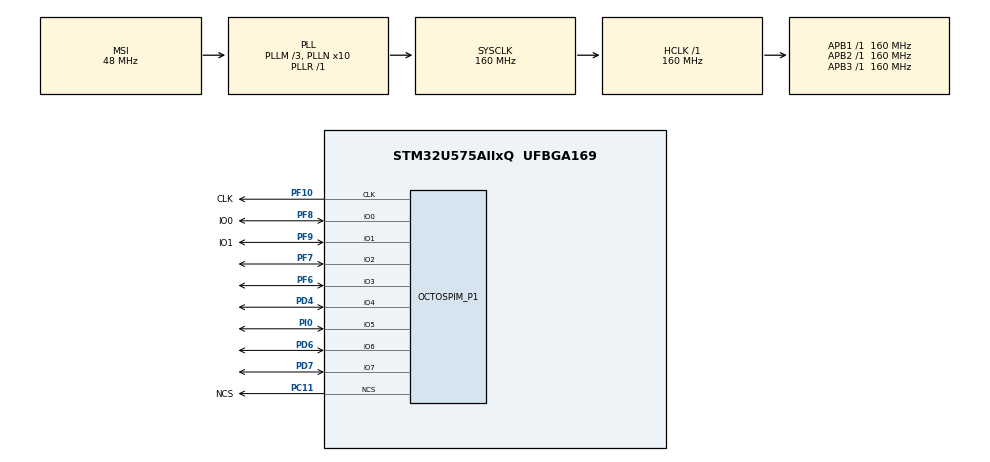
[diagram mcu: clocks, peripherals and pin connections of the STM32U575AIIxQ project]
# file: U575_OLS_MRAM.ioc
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CORTEX_M33_NS.userName=CORTEX_M33
Mcu.Family=STM32U5
Mcu.Name=STM32U575AIIxQ
Mcu.Package=UFBGA169
NVIC.OCTOSPI1_IRQn=true\:0\:0\:false\:false\:true\:true\:true\:true
NVIC.PriorityGroup=NVIC_PRIORITYGROUP_4
OCTOSPI1.ClockPrescaler=4
OCTOSPI1.DeviceSize=27
PC11.GPIO_Label=NCS
PC11.Mode=OCTOSPI1_Port1_NCS
PC11.Signal=OCTOSPIM_P1_NCS
PD4.Mode=OCTOSPI1_IOH_Port1H
PD4.Signal=OCTOSPIM_P1_IO4
PD6.Mode=OCTOSPI1_IOH_Port1H
PD6.Signal=OCTOSPIM_P1_IO6
PD7.Mode=OCTOSPI1_IOH_Port1H
PD7.Signal=OCTOSPIM_P1_IO7
PF10.GPIO_Label=CLK
PF10.Mode=O1_P1_CLK
PF10.Signal=OCTOSPIM_P1_CLK
PF6.Mode=OCTOSPI1_IOL_Port1L
PF6.Signal=OCTOSPIM_P1_IO3
PF7.Mode=OCTOSPI1_IOL_Port1L
PF7.Signal=OCTOSPIM_P1_IO2
PF8.GPIO_Label=IO0
PF8.Mode=OCTOSPI1_IOL_Port1L
PF8.Signal=OCTOSPIM_P1_IO0
PF9.GPIO_Label=IO1
PF9.Mode=OCTOSPI1_IOL_Port1L
PF9.Signal=OCTOSPIM_P1_IO1
PI0.Mode=OCTOSPI1_IOH_Port1H
PI0.Signal=OCTOSPIM_P1_IO5
PWR.PowerMode=PWR_SMPS_SUPPLY
ProjectManager.HeapSize=0x200
ProjectManager.StackSize=0x400
ProjectManager.TargetToolchain=STM32CubeIDE
RCC.ADCFreq_Value=16000000
RCC.AHBFreq_Value=160000000
RCC.APB1Freq_Value=160000000
RCC.APB1TimFreq_Value=160000000
RCC.APB2Freq_Value=160000000
RCC.APB2TimFreq_Value=160000000
RCC.APB3Freq_Value=160000000
RCC.CortexFreq_Value=160000000
RCC.EPOD_VALUE=48000000
RCC.HCLKFreq_Value=160000000
RCC.HSE_VALUE=16000000
RCC.HSI48_VALUE=48000000
RCC.HSI_VALUE=16000000
RCC.LSE_VALUE=32768
RCC.LSIDIV_VALUE=32000
RCC.MSIClockRange=RCC_MSIRANGE_0
RCC.MSI_VALUE=48000000
RCC.PLL1R=1
RCC.PLL2FRACN=0
RCC.PLL3FRACN=0
RCC.PLLFRACN=0
RCC.PLLM=3
RCC.PLLN=10
RCC.SYSCLKFreq_VALUE=160000000
RCC.SYSCLKSource=RCC_SYSCLKSOURCE_PLLCLK
RCC.USBFreq_Value=48000000
RCC.VCOOutputFreq_Value=160000000
VP_ICACHE_VS_ENABLE_ICACHE_MEMORY.Mode=Memoryregions
VP_ICACHE_VS_ICACHE.Mode=DirectMappedCache
VP_LPBAMQUEUE_VS_QUEUE.Mode=QUEUEMODE
VP_LPBAM_VS_SIG1.Mode=SmartRun
VP_LPBAM_VS_SIG4.Mode=LPDMA1
VP_MEMORYMAP_VS_MEMORYMAP.Mode=CurAppReg
VP_OCTOSPI1_VS_octo.Mode=octo_mode
VP_PWR_VS_LPOM.Mode=PowerOptimisation
VP_PWR_VS_SECSignals.Mode=Security/Privilege
board=custom

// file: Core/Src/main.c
/* USER CODE BEGIN Header */
/**
  ******************************************************************************
  * @file           : main.c
  * @brief          : Main program body
  ******************************************************************************
  * @attention
  *
  * Copyright (c) 2024 STMicroelectronics.
  * All rights reserved.
  *
  * This software is licensed under terms that can be found in the LICENSE file
  * in the root directory of this software component.
  * If no LICENSE file comes with this software, it is provided AS-IS.
  *
  ******************************************************************************
  */
/* USER CODE END Header */
#include "main.h"
#include "icache.h"
#include "memorymap.h"
#include "octospi.h"
#include "gpio.h"

/* USER CODE BEGIN Includes */
#include "mram.h"
/* USER CODE END Includes */

/* USER CODE BEGIN PV */
uint8_t ID[3];
EMXXLX_ConfigurationTypeDef MemConfig = { 0 };
/* USER CODE END PV */

void SystemClock_Config(void);
static void SystemPower_Config(void);

int main(void)
{

  /* MCU Configuration--------------------------------------------------------*/

  /* Reset of all peripherals, Initializes the Flash interface and the Systick. */
  HAL_Init();

  /* Configure the System Power */
  SystemPower_Config();

  /* Configure the system clock */
  SystemClock_Config();

  /* Initialize all configured peripherals */
  MX_GPIO_Init();
  MX_ICACHE_Init();
  MX_OCTOSPI1_Init();
  /* USER CODE BEGIN 2 */
  MemConfig.SpiInterfaceMode = MRAM_OSPI_W_DS;
  MemConfig.DummyCycles = MRAM_DEFAULT_DC;
  MemConfig.DriverStrenght = MRAM_50_DRIVER_STR;
  MemConfig.AddedDsDelay = MRAM_0_ADDED_DELAY;
  MemConfig.AddressMode = MRAM_ADDRESS_BYTES_4;
  MemConfig.XIPConfiguration = MRAM_XIP_DISABLE;
  MemConfig.WrapConfiguration = MRAM_CONTINUOUS_WRAP;
  MemConfig.EraseBitValue = MRAM_ERASE_VALUE_1;
  MemConfig.ResetPinEnable = MRAM_RESET_ENABLE;
  MemConfig.WriteMode = MRAM_NONVOLATILE;
  MemConfig.OtpLockEnable = MRAM_OTPLOCK_ENABLE;
  if (EMXXLX_Init(&hospi1, MemConfig, 8) != HAL_OK)
  Error_Handler();
  EMXXLX_Read_ID(&hospi1, ID);

  /* USER CODE END 2 */

  /* Infinite loop */
  while (1)
  {

  }
}

void SystemClock_Config(void)
{
  RCC_OscInitTypeDef RCC_OscInitStruct = {0};
  RCC_ClkInitTypeDef RCC_ClkInitStruct = {0};

  /** Configure the main internal regulator output voltage
  */
  if (HAL_PWREx_ControlVoltageScaling(PWR_REGULATOR_VOLTAGE_SCALE1) != HAL_OK)
  {
    Error_Handler();
  }

  /** Initializes the CPU, AHB and APB buses clocks
  */
  RCC_OscInitStruct.OscillatorType = RCC_OSCILLATORTYPE_MSI;
  RCC_OscInitStruct.MSIState = RCC_MSI_ON;
  RCC_OscInitStruct.MSICalibrationValue = RCC_MSICALIBRATION_DEFAULT;
  RCC_OscInitStruct.MSIClockRange = RCC_MSIRANGE_0;
  RCC_OscInitStruct.PLL.PLLState = RCC_PLL_ON;
  RCC_OscInitStruct.PLL.PLLSource = RCC_PLLSOURCE_MSI;
  RCC_OscInitStruct.PLL.PLLMBOOST = RCC_PLLMBOOST_DIV4;
  RCC_OscInitStruct.PLL.PLLM = 3;
  RCC_OscInitStruct.PLL.PLLN = 10;
  RCC_OscInitStruct.PLL.PLLP = 2;
  RCC_OscInitStruct.PLL.PLLQ = 2;
  RCC_OscInitStruct.PLL.PLLR = 1;
  RCC_OscInitStruct.PLL.PLLRGE = RCC_PLLVCIRANGE_1;
  RCC_OscInitStruct.PLL.PLLFRACN = 0;
  if (HAL_RCC_OscConfig(&RCC_OscInitStruct) != HAL_OK)
  {
    Error_Handler();
  }

  /** Initializes the CPU, AHB and APB buses clocks
  */
  RCC_ClkInitStruct.ClockType = RCC_CLOCKTYPE_HCLK|RCC_CLOCKTYPE_SYSCLK
                              |RCC_CLOCKTYPE_PCLK1|RCC_CLOCKTYPE_PCLK2
                              |RCC_CLOCKTYPE_PCLK3;
  RCC_ClkInitStruct.SYSCLKSource = RCC_SYSCLKSOURCE_PLLCLK;
  RCC_ClkInitStruct.AHBCLKDivider = RCC_SYSCLK_DIV1;
  RCC_ClkInitStruct.APB1CLKDivider = RCC_HCLK_DIV1;
  RCC_ClkInitStruct.APB2CLKDivider = RCC_HCLK_DIV1;
  RCC_ClkInitStruct.APB3CLKDivider = RCC_HCLK_DIV1;

  if (HAL_RCC_ClockConfig(&RCC_ClkInitStruct, FLASH_LATENCY_4) != HAL_OK)
  {
    Error_Handler();
  }
}

/**
  * @brief Power Configuration
  * @retval None
  */
static void SystemPower_Config(void)
{

  /*
   * Switch to SMPS regulator instead of LDO
   */
  if (HAL_PWREx_ConfigSupply(PWR_SMPS_SUPPLY) != HAL_OK)
  {
    Error_Handler();
  }
}

void Error_Handler(void)
{
  __disable_irq();
  while (1)
  {
  }
}
